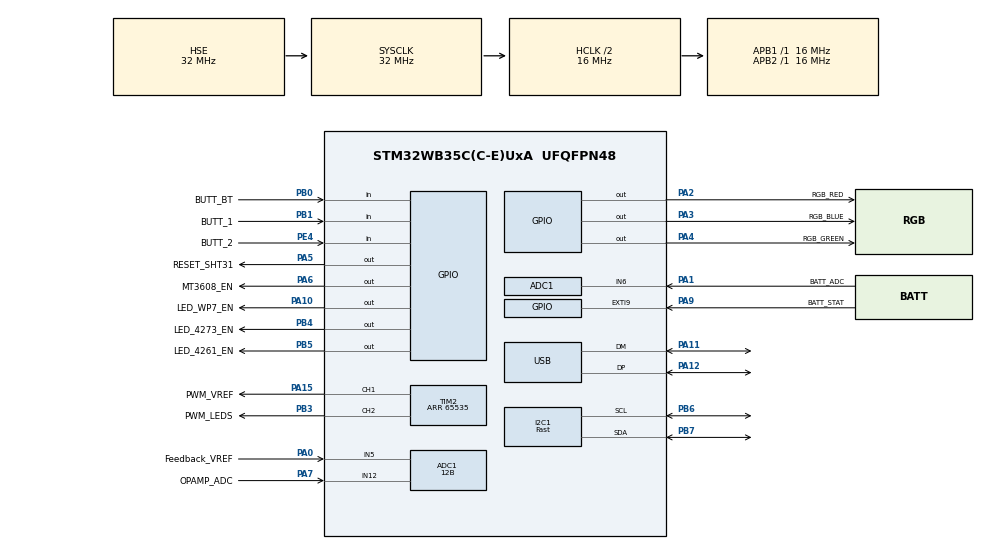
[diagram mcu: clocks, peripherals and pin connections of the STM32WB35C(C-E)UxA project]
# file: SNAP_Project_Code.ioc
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ADC1.Channel-2\#ChannelRegularConversion=ADC_CHANNEL_12
ADC1.Channel-3\#ChannelRegularConversion=ADC_CHANNEL_6
ADC1.ClockPrescaler=ADC_CLOCK_ASYNC_DIV1
ADC1.ContinuousConvMode=DISABLE
ADC1.DMAContinuousRequests=DISABLE
ADC1.DataAlign=ADC_DATAALIGN_RIGHT
ADC1.NbrOfConversion=2
ADC1.NbrOfConversionFlag=1
ADC1.OffsetNumber-2\#ChannelRegularConversion=ADC_OFFSET_NONE
ADC1.OffsetNumber-3\#ChannelRegularConversion=ADC_OFFSET_NONE
ADC1.Rank-2\#ChannelRegularConversion=1
ADC1.Rank-3\#ChannelRegularConversion=2
ADC1.Resolution=ADC_RESOLUTION_12B
ADC1.SamplingTime-2\#ChannelRegularConversion=ADC_SAMPLETIME_2CYCLES_5
ADC1.SamplingTime-3\#ChannelRegularConversion=ADC_SAMPLETIME_640CYCLES_5
ADC1.master=1
Dma.ADC1.0.Direction=DMA_PERIPH_TO_MEMORY
Dma.ADC1.0.EventEnable=DISABLE
Dma.ADC1.0.Instance=DMA1_Channel1
Dma.ADC1.0.MemDataAlignment=DMA_MDATAALIGN_WORD
Dma.ADC1.0.MemInc=DMA_MINC_ENABLE
Dma.ADC1.0.Mode=DMA_CIRCULAR
Dma.ADC1.0.PeriphDataAlignment=DMA_PDATAALIGN_WORD
Dma.ADC1.0.PeriphInc=DMA_PINC_DISABLE
Dma.ADC1.0.Polarity=HAL_DMAMUX_REQ_GEN_RISING
Dma.ADC1.0.Priority=DMA_PRIORITY_LOW
Dma.ADC1.0.RequestNumber=1
Dma.ADC1.0.SignalID=NONE
Dma.ADC1.0.SyncEnable=DISABLE
Dma.ADC1.0.SyncPolarity=HAL_DMAMUX_SYNC_NO_EVENT
Dma.ADC1.0.SyncRequestNumber=1
Dma.ADC1.0.SyncSignalID=NONE
Dma.Request0=ADC1
I2C1.I2C_Speed_Mode=I2C_Fast
I2C1.Timing=0x0010061A
Mcu.Family=STM32WB
Mcu.Name=STM32WB35C(C-E)UxA
Mcu.Package=UFQFPN48
NVIC.DMA1_Channel1_IRQn=true\:0\:0\:false\:false\:true\:false\:true\:true
NVIC.EXTI9_5_IRQn=true\:0\:0\:false\:false\:true\:true\:true\:true
NVIC.HSEM_IRQn=true\:0\:0\:false\:false\:true\:false\:true\:true
NVIC.IPCC_C1_RX_IRQn=true\:0\:0\:false\:false\:true\:true\:true\:true
NVIC.IPCC_C1_TX_IRQn=true\:0\:0\:false\:false\:true\:true\:true\:true
NVIC.PriorityGroup=NVIC_PRIORITYGROUP_4
NVIC.USB_LP_IRQn=true\:0\:0\:false\:false\:true\:false\:true\:true
OSC_IN.Mode=HSE-External-Oscillator
OSC_IN.Signal=RCC_OSC_IN
OSC_OUT.Mode=HSE-External-Oscillator
OSC_OUT.Signal=RCC_OSC_OUT
PA0.GPIO_Label=Feedback_VREF
PA0.Signal=ADCx_IN5
PA1.GPIO_Label=BATT_ADC
PA1.Signal=ADCx_IN6
PA10.GPIO_Label=LED_WP7_EN
PA10.Signal=GPIO_Output
PA11.Mode=Device
PA11.Signal=USB_DM
PA12.Mode=Device
PA12.Signal=USB_DP
PA13.Mode=Serial_Wire
PA13.Signal=SYS_JTMS-SWDIO
PA14.Mode=Serial_Wire
PA14.Signal=SYS_JTCK-SWCLK
PA15.GPIO_Label=PWM_VREF
PA15.Signal=S_TIM2_CH1
PA2.GPIO_Label=RGB_RED
PA2.Signal=GPIO_Output
PA3.GPIO_Label=RGB_BLUE
PA3.Signal=GPIO_Output
PA4.GPIO_Label=RGB_GREEN
PA4.Signal=GPIO_Output
PA5.GPIO_Label=RESET_SHT31
PA5.PinState=GPIO_PIN_SET
PA5.Signal=GPIO_Output
PA6.GPIO_Label=MT3608_EN
PA6.Signal=GPIO_Output
PA7.GPIO_Label=OPAMP_ADC
PA7.Signal=ADCx_IN12
PA9.GPIO_Label=BATT_STAT
PA9.GPIO_ModeDefaultEXTI=GPIO_MODE_IT_RISING
PA9.GPIO_PuPd=GPIO_PULLUP
PA9.Signal=GPXTI9
PB0.GPIO_Label=BUTT_BT
PB0.GPIO_PuPd=GPIO_PULLUP
PB0.Signal=GPIO_Input
PB1.GPIO_Label=BUTT_1
PB1.GPIO_PuPd=GPIO_PULLUP
PB1.Signal=GPIO_Input
PB3.GPIO_Label=PWM_LEDS
PB3.Signal=S_TIM2_CH2
PB4.GPIO_Label=LED_4273_EN
PB4.Signal=GPIO_Output
PB5.GPIO_Label=LED_4261_EN
PB5.Signal=GPIO_Output
PB6.Mode=I2C
PB6.Signal=I2C1_SCL
PB7.Mode=I2C
PB7.Signal=I2C1_SDA
PC14-OSC32_IN.Mode=LSE-External-Oscillator
PC14-OSC32_IN.Signal=RCC_OSC32_IN
PC15-OSC32_OUT.Mode=LSE-External-Oscillator
PC15-OSC32_OUT.Signal=RCC_OSC32_OUT
PE4.GPIO_Label=BUTT_2
PE4.GPIO_PuPd=GPIO_PULLUP
PE4.Signal=GPIO_Input
ProjectManager.HeapSize=0x200
ProjectManager.StackSize=0x400
ProjectManager.TargetToolchain=STM32CubeIDE
RCC.ADCCLockSelection=RCC_ADCCLKSOURCE_PLL
RCC.ADCFreq_Value=4000000
RCC.AHBCLKDivider=RCC_SYSCLK_DIV2
RCC.AHBFreq_Value=16000000
RCC.APB1Freq_Value=16000000
RCC.APB1TimFreq_Value=16000000
RCC.APB2Freq_Value=16000000
RCC.APB2TimFreq_Value=16000000
RCC.APB3Freq_Value=16000000
RCC.CortexFreq_Value=16000000
RCC.HCLKFreq_Value=16000000
RCC.HSE_VALUE=32000000
RCC.HSI48_VALUE=48000000
RCC.HSI_VALUE=16000000
RCC.LSE_Drive_Capability=RCC_LSEDRIVE_LOW
RCC.PLLN=24
RCC.PLLP=RCC_PLLP_DIV24
RCC.PLLSAI1N=24
RCC.PLLSAI1R=RCC_PLLR_DIV8
RCC.RFWKPClockSelection=RCC_RFWKPCLKSOURCE_LSE
RCC.RTCClockSelection=RCC_RTCCLKSOURCE_LSE
RCC.SYSCLKFreq_VALUE=32000000
RCC.SYSCLKSource=RCC_SYSCLKSOURCE_HSE
RCC.USBFreq_Value=48000000
RCC.VCOOutputFreq_Value=96000000
RCC.VDD_VALUE=3
RF1.Mode=RF1_Activate
RF1.Signal=RF_RF1
SH.ADCx_IN12.0=ADC1_IN12,IN12-Single-Ended
SH.ADCx_IN5.0=ADC1_IN5,IN5-Single-Ended
SH.ADCx_IN6.0=ADC1_IN6,IN6-Single-Ended
SH.S_TIM2_CH1.0=TIM2_CH1,PWM Generation1 CH1
SH.S_TIM2_CH2.0=TIM2_CH2,PWM Generation2 CH2
STM32_WPAN.AD_SERVICE_CLASS_UUID_1=00 00
STM32_WPAN.AD_SERVICE_CLASS_UUID_1_INV=[00, 00]
STM32_WPAN.AD_TYPE_COMPLETE_LOCAL_NAME=SNAP_BLE
STM32_WPAN.CFG_BONDING_MODE=1
STM32_WPAN.CFG_DEBUG_APP_TRACE=1
STM32_WPAN.CFG_DEBUG_TRACE_UART=hw_uart1
STM32_WPAN.CFG_GAP_DEVICE_NAME=SNAP001
STM32_WPAN.CFG_GAP_DEVICE_NAME_LENGTH=7
STM32_WPAN.CFG_HW_USART1_ENABLED=1
STM32_WPAN.CFG_IO_CAPABILITY=\ CFG_IO_CAPABILITY_NO_INPUT_NO_OUTPUT
STM32_WPAN.CFG_MITM_PROTECTION=CFG_MITM_PROTECTION_NOT_REQUIRED
STM32_WPAN.CFG_TX_POWER=(0x17) /* -0.5dBm */
STM32_WPAN.CFG_USED_FIXED_PIN=0
STM32_WPAN.CUSTOM_P2P_SERVER=Disabled
STM32_WPAN.CUSTOM_TEMPLATE=Enabled
STM32_WPAN.INCLUDE_AD_TYPE_16_BIT_SERV_UUID_CMPLT_LIST=0
STM32_WPAN.INCLUDE_AD_TYPE_COMPLETE_LOCAL_NAME=1
STM32_WPAN.INCLUDE_AD_TYPE_MANUFACTURER_SPECIFIC_DATA=1
STM32_WPAN.INCLUDE_AD_TYPE_TX_POWER_LEVEL=1
STM32_WPAN.NUMBER_OF_SERVICES=3
STM32_WPAN.PAIRING_PARAMETERS=ON
STM32_WPAN.SERVICE1_CHAR1_ATTR_PERMISSION_AUTHOR_READ=ATTR_PERMISSION_AUTHOR_READ
STM32_WPAN.SERVICE1_CHAR1_ATTR_PERMISSION_ENCRY_READ=\ 
STM32_WPAN.SERVICE1_CHAR1_ATTR_PERMISSION_ENCRY_WRITE=\ 
STM32_WPAN.SERVICE1_CHAR1_GATT_NOTIFY_ATTRIBUTE_WRITE=\ 
STM32_WPAN.SERVICE1_CHAR1_GATT_NOTIFY_READ_REQ_AND_WAIT_FOR_APPL_RESP=\ 
STM32_WPAN.SERVICE1_CHAR1_GATT_NOTIFY_WRITE_REQ_AND_WAIT_FOR_APPL_RESP=\ 
STM32_WPAN.SERVICE1_CHAR1_LENGTH_CHARACTERISTIC=CHAR_VALUE_LEN_CONSTANT
STM32_WPAN.SERVICE1_CHAR1_LONG_NAME=VOLTAGE_SENSOR
STM32_WPAN.SERVICE1_CHAR1_PROP_READ=CHAR_PROP_READ
STM32_WPAN.SERVICE1_CHAR1_SHORT_NAME=VOL_SEN
STM32_WPAN.SERVICE1_CHAR1_UUID=00 41
STM32_WPAN.SERVICE1_CHAR1_VALUE_LENGTH=1
STM32_WPAN.SERVICE1_CHAR2_ATTR_PERMISSION_AUTHOR_READ=ATTR_PERMISSION_AUTHOR_READ
STM32_WPAN.SERVICE1_CHAR2_GATT_NOTIFY_ATTRIBUTE_WRITE=\ 
STM32_WPAN.SERVICE1_CHAR2_GATT_NOTIFY_READ_REQ_AND_WAIT_FOR_APPL_RESP=\ 
STM32_WPAN.SERVICE1_CHAR2_GATT_NOTIFY_WRITE_REQ_AND_WAIT_FOR_APPL_RESP=\ 
STM32_WPAN.SERVICE1_CHAR2_LONG_NAME=CURRENT_SENSOR
STM32_WPAN.SERVICE1_CHAR2_PROP_READ=CHAR_PROP_READ
STM32_WPAN.SERVICE1_CHAR2_SHORT_NAME=CU_SEN
STM32_WPAN.SERVICE1_CHAR2_UUID=00 42
STM32_WPAN.SERVICE1_CHAR2_VALUE_LENGTH=1
STM32_WPAN.SERVICE1_CHAR3_ATTR_PERMISSION_AUTHOR_READ=ATTR_PERMISSION_AUTHOR_READ
STM32_WPAN.SERVICE1_CHAR3_GATT_NOTIFY_ATTRIBUTE_WRITE=\ 
STM32_WPAN.SERVICE1_CHAR3_GATT_NOTIFY_READ_REQ_AND_WAIT_FOR_APPL_RESP=\ 
STM32_WPAN.SERVICE1_CHAR3_GATT_NOTIFY_WRITE_REQ_AND_WAIT_FOR_APPL_RESP=\ 
STM32_WPAN.SERVICE1_CHAR3_LENGTH_CHARACTERISTIC=CHAR_VALUE_LEN_CONSTANT
STM32_WPAN.SERVICE1_CHAR3_LONG_NAME=TEMP
STM32_WPAN.SERVICE1_CHAR3_PROP_READ=CHAR_PROP_READ
STM32_WPAN.SERVICE1_CHAR3_SHORT_NAME=TEMP
STM32_WPAN.SERVICE1_CHAR3_UUID=00 43
STM32_WPAN.SERVICE1_CHAR3_VALUE_LENGTH=1
STM32_WPAN.SERVICE1_CHAR4_ATTR_PERMISSION_AUTHOR_READ=ATTR_PERMISSION_AUTHOR_READ
STM32_WPAN.SERVICE1_CHAR4_GATT_NOTIFY_ATTRIBUTE_WRITE=\ 
STM32_WPAN.SERVICE1_CHAR4_GATT_NOTIFY_READ_REQ_AND_WAIT_FOR_APPL_RESP=\ 
STM32_WPAN.SERVICE1_CHAR4_GATT_NOTIFY_WRITE_REQ_AND_WAIT_FOR_APPL_RESP=\ 
STM32_WPAN.SERVICE1_CHAR4_LONG_NAME=HUM
STM32_WPAN.SERVICE1_CHAR4_PROP_READ=CHAR_PROP_READ
STM32_WPAN.SERVICE1_CHAR4_SHORT_NAME=HUM
STM32_WPAN.SERVICE1_CHAR4_UUID=00 44
STM32_WPAN.SERVICE1_CHAR5_GATT_NOTIFY_READ_REQ_AND_WAIT_FOR_APPL_RESP=\ 
STM32_WPAN.SERVICE1_CHAR5_GATT_NOTIFY_WRITE_REQ_AND_WAIT_FOR_APPL_RESP=\ 
STM32_WPAN.SERVICE1_CHAR5_LONG_NAME=My_Switch_Char
STM32_WPAN.SERVICE1_CHAR5_PROP_NOTIFY=CHAR_PROP_NOTIFY
STM32_WPAN.SERVICE1_CHAR5_SHORT_NAME=SWITCH_C
STM32_WPAN.SERVICE1_CHAR5_UUID=FE 45
STM32_WPAN.SERVICE1_CHAR5_VALUE_LENGTH=2
STM32_WPAN.SERVICE1_LONG_NAME=SNAP_SVC
STM32_WPAN.SERVICE1_NUMBER_OF_CHARACTERISTICS=4
STM32_WPAN.SERVICE1_SHORT_NAME=SNAP
STM32_WPAN.SERVICE1_UUID=00 40
STM32_WPAN.SERVICE2_CHAR1_GATT_NOTIFY_ATTRIBUTE_WRITE=\ 
STM32_WPAN.SERVICE2_CHAR1_GATT_NOTIFY_READ_REQ_AND_WAIT_FOR_APPL_RESP=\ 
STM32_WPAN.SERVICE2_CHAR1_GATT_NOTIFY_WRITE_REQ_AND_WAIT_FOR_APPL_RESP=\ 
STM32_WPAN.SERVICE2_CHAR1_LONG_NAME=NUMBER_VAR
STM32_WPAN.SERVICE2_CHAR1_PROP_READ=CHAR_PROP_READ
STM32_WPAN.SERVICE2_CHAR1_SHORT_NAME=NUM_VAR
STM32_WPAN.SERVICE2_CHAR1_UUID=01 41
STM32_WPAN.SERVICE2_CHAR2_GATT_NOTIFY_ATTRIBUTE_WRITE=\ 
STM32_WPAN.SERVICE2_CHAR2_GATT_NOTIFY_READ_REQ_AND_WAIT_FOR_APPL_RESP=\ 
STM32_WPAN.SERVICE2_CHAR2_GATT_NOTIFY_WRITE_REQ_AND_WAIT_FOR_APPL_RESP=\ 
STM32_WPAN.SERVICE2_CHAR2_LONG_NAME=ABSORBANCE
STM32_WPAN.SERVICE2_CHAR2_PROP_READ=CHAR_PROP_READ
STM32_WPAN.SERVICE2_CHAR2_SHORT_NAME=ABS
STM32_WPAN.SERVICE2_CHAR2_UUID=01 42
STM32_WPAN.SERVICE2_CHAR3_GATT_NOTIFY_ATTRIBUTE_WRITE=\ 
STM32_WPAN.SERVICE2_CHAR3_GATT_NOTIFY_READ_REQ_AND_WAIT_FOR_APPL_RESP=\ 
STM32_WPAN.SERVICE2_CHAR3_GATT_NOTIFY_WRITE_REQ_AND_WAIT_FOR_APPL_RESP=\ 
STM32_WPAN.SERVICE2_CHAR3_LONG_NAME=ID_NUTRIENT
STM32_WPAN.SERVICE2_CHAR3_PROP_READ=CHAR_PROP_READ
STM32_WPAN.SERVICE2_CHAR3_SHORT_NAME=ID_NUT
STM32_WPAN.SERVICE2_CHAR3_UUID=01 43
STM32_WPAN.SERVICE2_CHAR4_GATT_NOTIFY_ATTRIBUTE_WRITE=\ 
STM32_WPAN.SERVICE2_CHAR4_GATT_NOTIFY_READ_REQ_AND_WAIT_FOR_APPL_RESP=\ 
STM32_WPAN.SERVICE2_CHAR4_GATT_NOTIFY_WRITE_REQ_AND_WAIT_FOR_APPL_RESP=\ 
STM32_WPAN.SERVICE2_CHAR4_LENGTH_CHARACTERISTIC=CHAR_VALUE_LEN_CONSTANT
STM32_WPAN.SERVICE2_CHAR4_LONG_NAME=ID_DISP_EXTRA
STM32_WPAN.SERVICE2_CHAR4_PROP_READ=CHAR_PROP_READ
STM32_WPAN.SERVICE2_CHAR4_SHORT_NAME=ID_EXTRA
STM32_WPAN.SERVICE2_CHAR4_UUID=01 44
STM32_WPAN.SERVICE2_CHAR4_VALUE_LENGTH=12
STM32_WPAN.SERVICE2_LONG_NAME=SNAP_SVC_2
STM32_WPAN.SERVICE2_NUMBER_OF_CHARACTERISTICS=4
STM32_WPAN.SERVICE2_SHORT_NAME=SNAP_1
STM32_WPAN.SERVICE2_UUID=01 40
STM32_WPAN.SERVICE3_CHAR1_GATT_NOTIFY_READ_REQ_AND_WAIT_FOR_APPL_RESP=\ 
STM32_WPAN.SERVICE3_CHAR1_GATT_NOTIFY_WRITE_REQ_AND_WAIT_FOR_APPL_RESP=\ 
STM32_WPAN.SERVICE3_CHAR1_LONG_NAME=Acknowledge
STM32_WPAN.SERVICE3_CHAR1_PROP_WRITE=CHAR_PROP_WRITE
STM32_WPAN.SERVICE3_CHAR1_SHORT_NAME=ACK
STM32_WPAN.SERVICE3_CHAR1_UUID=02 41 00 00 00 00 00 00 00 00 00 00 00 00 00 01
STM32_WPAN.SERVICE3_CHAR1_UUID_128_INPUT_TYPE=1
STM32_WPAN.SERVICE3_LONG_NAME=SNAP_SVC_3
STM32_WPAN.SERVICE3_SHORT_NAME=SNAP_2
STM32_WPAN.SERVICE3_UUID=02 40
TIM2.Channel-PWM\ Generation1\ CH1=TIM_CHANNEL_1
TIM2.Channel-PWM\ Generation2\ CH2=TIM_CHANNEL_2
TIM2.OCMode_PWM-PWM\ Generation1\ CH1=TIM_OCMODE_PWM1
TIM2.Period=65535
TIM2.Pulse-PWM\ Generation1\ CH1=0
USB_DEVICE.CLASS_NAME_FS=CDC
USB_DEVICE.MANUFACTURER_STRING=UTEC
USB_DEVICE.PRODUCT_STRING_CDC_FS=SNAP VCP
USB_DEVICE.VirtualMode=Cdc
USB_DEVICE.VirtualModeFS=Cdc_FS
VP_HSEM_VS_HSEM.Mode=HSEM_Activate
VP_IPCC_VS_IPCC.Mode=IPCC_Activate
VP_RTC_VS_RTC_Activate.Mode=RTC_Enabled
VP_RTC_VS_RTC_WakeUp_intern.Mode=WakeUp
VP_SEQUENCER_VS_SEQUENCER.Mode=SEQUENCER_Enabled
VP_STM32_WPAN_VS_BLE_HOST.Mode=STM32_WPAN_Enabled
VP_TIM2_VS_ClockSourceINT.Mode=Internal
VP_TINY_LPM_VS_TINY_LPM.Mode=TINY_LPM_Enabled
VP_USB_DEVICE_VS_USB_DEVICE_CDC_FS.Mode=CDC_FS
board=custom

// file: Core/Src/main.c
/* USER CODE BEGIN Header */
/**
  ******************************************************************************
  * @file           : main.c
  * @brief          : Main program body
  ******************************************************************************
  * @attention
  *
  * Copyright (c) 2023 STMicroelectronics.
  * All rights reserved.
  *
  * This software is licensed under terms that can be found in the LICENSE file
  * in the root directory of this software component.
  * If no LICENSE file comes with this software, it is provided AS-IS.
  *
  * This is a configuration file for all the pheripherals in the STM Processor.
  * Please do not edit this file.
  *
  * Please refer to the following files for better understanding of the code:
  *
  * 	SNAP_Project_Code -> Core -> Scr -> main.c  <- Currently in this file
  * 	SNAP_Project_Code -> Core -> Inc -> main.h
  * 	SNAP_Project_Code -> STM32_WPAN -> App -> custom_app.c
  * 	SNAP_Project_Code -> STM32_WPAN -> App -> custom_app.h
  * 	SNAP_Project_Code -> STM32_WPAN -> App -> custom_stm.c
  * 	SNAP_Project_Code -> STM32_WPAN -> App -> custom_stm.h
  *
  ******************************************************************************
  */
/* USER CODE END Header */
#include "main.h"
#include "usb_device.h"

/* USER CODE BEGIN Includes */
#include "sht31.h"
#include <stdio.h>
#include "stm32_seq.h"
#include "fonts.h"
#include "ssd1306.h"
#include "usb_device.h"
#include "custom_app.h"
/* USER CODE END Includes */

ADC_HandleTypeDef hadc1;
DMA_HandleTypeDef hdma_adc1;

I2C_HandleTypeDef hi2c1;

IPCC_HandleTypeDef hipcc;

RTC_HandleTypeDef hrtc;

TIM_HandleTypeDef htim2;

/* USER CODE BEGIN PV */
uint8_t battery_completed = 0;
/* USER CODE END PV */

void SystemClock_Config(void);
void PeriphCommonClock_Config(void);
static void MX_GPIO_Init(void);
static void MX_DMA_Init(void);
static void MX_ADC1_Init(void);
static void MX_I2C1_Init(void);
static void MX_IPCC_Init(void);
static void MX_RTC_Init(void);
static void MX_TIM2_Init(void);
static void MX_RF_Init(void);

int main(void)
{

  /* MCU Configuration--------------------------------------------------------*/

  /* Reset of all peripherals, Initializes the Flash interface and the Systick. */
  HAL_Init();
  /* Config code for STM32_WPAN (HSE Tuning must be done before system clock configuration) */
  MX_APPE_Config();

  /* Configure the system clock */
  SystemClock_Config();

/* Configure the peripherals common clocks */
  PeriphCommonClock_Config();

  /* IPCC initialisation */
  MX_IPCC_Init();

  /* Initialize all configured peripherals */
  MX_GPIO_Init();
  MX_DMA_Init();
  MX_USB_Device_Init();
  MX_ADC1_Init();
  MX_I2C1_Init();
  MX_RTC_Init();
  MX_TIM2_Init();
  MX_RF_Init();
  /* USER CODE BEGIN 2 */
  HAL_GPIO_WritePin(GPIOA, MT3608_EN_Pin, GPIO_PIN_SET); 	/* Toggle 5V rail */
  SSD1306_Init();											/* Init OLED Screen */
  /* USER CODE END 2 */

  /* Init code for STM32_WPAN */
  MX_APPE_Init();

  /* Infinite loop */
  while (1)
  {
    MX_APPE_Process();	//Enters to the SNAP Application. Please refer to the file SNAP_Project_Code -> STM32_WPAN -> App -> custom_app.c

  }
}

void SystemClock_Config(void)
{
  RCC_OscInitTypeDef RCC_OscInitStruct = {0};
  RCC_ClkInitTypeDef RCC_ClkInitStruct = {0};

  /** Configure LSE Drive Capability
  */
  HAL_PWR_EnableBkUpAccess();
  __HAL_RCC_LSEDRIVE_CONFIG(RCC_LSEDRIVE_LOW);

  /** Configure the main internal regulator output voltage
  */
  __HAL_PWR_VOLTAGESCALING_CONFIG(PWR_REGULATOR_VOLTAGE_SCALE1);

  /** Initializes the RCC Oscillators according to the specified parameters
  * in the RCC_OscInitTypeDef structure.
  */
  RCC_OscInitStruct.OscillatorType = RCC_OSCILLATORTYPE_HSI|RCC_OSCILLATORTYPE_HSE
                              |RCC_OSCILLATORTYPE_LSE|RCC_OSCILLATORTYPE_MSI;
  RCC_OscInitStruct.HSEState = RCC_HSE_ON;
  RCC_OscInitStruct.LSEState = RCC_LSE_ON;
  RCC_OscInitStruct.HSIState = RCC_HSI_ON;
  RCC_OscInitStruct.MSIState = RCC_MSI_ON;
  RCC_OscInitStruct.HSICalibrationValue = RCC_HSICALIBRATION_DEFAULT;
  RCC_OscInitStruct.MSICalibrationValue = RCC_MSICALIBRATION_DEFAULT;
  RCC_OscInitStruct.MSIClockRange = RCC_MSIRANGE_6;
  RCC_OscInitStruct.PLL.PLLState = RCC_PLL_ON;
  RCC_OscInitStruct.PLL.PLLSource = RCC_PLLSOURCE_MSI;
  RCC_OscInitStruct.PLL.PLLM = RCC_PLLM_DIV1;
  RCC_OscInitStruct.PLL.PLLN = 24;
  RCC_OscInitStruct.PLL.PLLP = RCC_PLLP_DIV24;
  RCC_OscInitStruct.PLL.PLLR = RCC_PLLR_DIV2;
  RCC_OscInitStruct.PLL.PLLQ = RCC_PLLQ_DIV2;
  if (HAL_RCC_OscConfig(&RCC_OscInitStruct) != HAL_OK)
  {
    Error_Handler();
  }

  /** Configure the SYSCLKSource, HCLK, PCLK1 and PCLK2 clocks dividers
  */
  RCC_ClkInitStruct.ClockType = RCC_CLOCKTYPE_HCLK4|RCC_CLOCKTYPE_HCLK2
                              |RCC_CLOCKTYPE_HCLK|RCC_CLOCKTYPE_SYSCLK
                              |RCC_CLOCKTYPE_PCLK1|RCC_CLOCKTYPE_PCLK2;
  RCC_ClkInitStruct.SYSCLKSource = RCC_SYSCLKSOURCE_HSE;
  RCC_ClkInitStruct.AHBCLKDivider = RCC_SYSCLK_DIV2;
  RCC_ClkInitStruct.APB1CLKDivider = RCC_HCLK_DIV1;
  RCC_ClkInitStruct.APB2CLKDivider = RCC_HCLK_DIV1;
  RCC_ClkInitStruct.AHBCLK2Divider = RCC_SYSCLK_DIV1;
  RCC_ClkInitStruct.AHBCLK4Divider = RCC_SYSCLK_DIV1;

  if (HAL_RCC_ClockConfig(&RCC_ClkInitStruct, FLASH_LATENCY_1) != HAL_OK)
  {
    Error_Handler();
  }

  /** Enable MSI Auto calibration
  */
  HAL_RCCEx_EnableMSIPLLMode();
}

void PeriphCommonClock_Config(void)
{
  RCC_PeriphCLKInitTypeDef PeriphClkInitStruct = {0};

  /** Initializes the peripherals clock
  */
  PeriphClkInitStruct.PeriphClockSelection = RCC_PERIPHCLK_SMPS|RCC_PERIPHCLK_RFWAKEUP;
  PeriphClkInitStruct.RFWakeUpClockSelection = RCC_RFWKPCLKSOURCE_LSE;
  PeriphClkInitStruct.SmpsClockSelection = RCC_SMPSCLKSOURCE_HSI;
  PeriphClkInitStruct.SmpsDivSelection = RCC_SMPSCLKDIV_RANGE1;

  if (HAL_RCCEx_PeriphCLKConfig(&PeriphClkInitStruct) != HAL_OK)
  {
    Error_Handler();
  }
}

static void MX_ADC1_Init(void)
{

  ADC_ChannelConfTypeDef sConfig = {0};

  /** Common config
  */
  hadc1.Instance = ADC1;
  hadc1.Init.ClockPrescaler = ADC_CLOCK_ASYNC_DIV1;
  hadc1.Init.Resolution = ADC_RESOLUTION_12B;
  hadc1.Init.DataAlign = ADC_DATAALIGN_RIGHT;
  hadc1.Init.ScanConvMode = ADC_SCAN_ENABLE;
  hadc1.Init.EOCSelection = ADC_EOC_SINGLE_CONV;
  hadc1.Init.LowPowerAutoWait = DISABLE;
  hadc1.Init.ContinuousConvMode = DISABLE;
  hadc1.Init.NbrOfConversion = 2;
  hadc1.Init.DiscontinuousConvMode = DISABLE;
  hadc1.Init.ExternalTrigConv = ADC_SOFTWARE_START;
  hadc1.Init.ExternalTrigConvEdge = ADC_EXTERNALTRIGCONVEDGE_NONE;
  hadc1.Init.DMAContinuousRequests = DISABLE;
  hadc1.Init.Overrun = ADC_OVR_DATA_PRESERVED;
  hadc1.Init.OversamplingMode = DISABLE;
  if (HAL_ADC_Init(&hadc1) != HAL_OK)
  {
    Error_Handler();
  }

  /** Configure Regular Channel
  */
  sConfig.Channel = ADC_CHANNEL_12;
  sConfig.Rank = ADC_REGULAR_RANK_1;
  sConfig.SamplingTime = ADC_SAMPLETIME_2CYCLES_5;
  sConfig.SingleDiff = ADC_SINGLE_ENDED;
  sConfig.OffsetNumber = ADC_OFFSET_NONE;
  sConfig.Offset = 0;
  if (HAL_ADC_ConfigChannel(&hadc1, &sConfig) != HAL_OK)
  {
    Error_Handler();
  }

  /** Configure Regular Channel
  */
  sConfig.Channel = ADC_CHANNEL_6;
  sConfig.Rank = ADC_REGULAR_RANK_2;
  sConfig.SamplingTime = ADC_SAMPLETIME_640CYCLES_5;
  if (HAL_ADC_ConfigChannel(&hadc1, &sConfig) != HAL_OK)
  {
    Error_Handler();
  }

}

static void MX_I2C1_Init(void)
{

  hi2c1.Instance = I2C1;
  hi2c1.Init.Timing = 0x0010061A;
  hi2c1.Init.OwnAddress1 = 0;
  hi2c1.Init.AddressingMode = I2C_ADDRESSINGMODE_7BIT;
  hi2c1.Init.DualAddressMode = I2C_DUALADDRESS_DISABLE;
  hi2c1.Init.OwnAddress2 = 0;
  hi2c1.Init.OwnAddress2Masks = I2C_OA2_NOMASK;
  hi2c1.Init.GeneralCallMode = I2C_GENERALCALL_DISABLE;
  hi2c1.Init.NoStretchMode = I2C_NOSTRETCH_DISABLE;
  if (HAL_I2C_Init(&hi2c1) != HAL_OK)
  {
    Error_Handler();
  }

  /** Configure Analogue filter
  */
  if (HAL_I2CEx_ConfigAnalogFilter(&hi2c1, I2C_ANALOGFILTER_ENABLE) != HAL_OK)
  {
    Error_Handler();
  }

  /** Configure Digital filter
  */
  if (HAL_I2CEx_ConfigDigitalFilter(&hi2c1, 0) != HAL_OK)
  {
    Error_Handler();
  }

}

static void MX_IPCC_Init(void)
{

  hipcc.Instance = IPCC;
  if (HAL_IPCC_Init(&hipcc) != HAL_OK)
  {
    Error_Handler();
  }

}

static void MX_RF_Init(void)
{

}

static void MX_RTC_Init(void)
{

  /** Initialize RTC Only
  */
  hrtc.Instance = RTC;
  hrtc.Init.HourFormat = RTC_HOURFORMAT_24;
  hrtc.Init.AsynchPrediv = CFG_RTC_ASYNCH_PRESCALER;
  hrtc.Init.SynchPrediv = CFG_RTC_SYNCH_PRESCALER;
  hrtc.Init.OutPut = RTC_OUTPUT_DISABLE;
  hrtc.Init.OutPutPolarity = RTC_OUTPUT_POLARITY_HIGH;
  hrtc.Init.OutPutType = RTC_OUTPUT_TYPE_OPENDRAIN;
  hrtc.Init.OutPutRemap = RTC_OUTPUT_REMAP_NONE;
  if (HAL_RTC_Init(&hrtc) != HAL_OK)
  {
    Error_Handler();
  }

  /** Enable the WakeUp
  */
  if (HAL_RTCEx_SetWakeUpTimer(&hrtc, 0, RTC_WAKEUPCLOCK_RTCCLK_DIV16) != HAL_OK)
  {
    Error_Handler();
  }

}

static void MX_TIM2_Init(void)
{

  TIM_ClockConfigTypeDef sClockSourceConfig = {0};
  TIM_MasterConfigTypeDef sMasterConfig = {0};
  TIM_OC_InitTypeDef sConfigOC = {0};

  htim2.Instance = TIM2;
  htim2.Init.Prescaler = 0;
  htim2.Init.CounterMode = TIM_COUNTERMODE_UP;
  htim2.Init.Period = 65535;
  htim2.Init.ClockDivision = TIM_CLOCKDIVISION_DIV1;
  htim2.Init.AutoReloadPreload = TIM_AUTORELOAD_PRELOAD_DISABLE;
  if (HAL_TIM_Base_Init(&htim2) != HAL_OK)
  {
    Error_Handler();
  }
  sClockSourceConfig.ClockSource = TIM_CLOCKSOURCE_INTERNAL;
  if (HAL_TIM_ConfigClockSource(&htim2, &sClockSourceConfig) != HAL_OK)
  {
    Error_Handler();
  }
  if (HAL_TIM_PWM_Init(&htim2) != HAL_OK)
  {
    Error_Handler();
  }
  sMasterConfig.MasterOutputTrigger = TIM_TRGO_RESET;
  sMasterConfig.MasterSlaveMode = TIM_MASTERSLAVEMODE_DISABLE;
  if (HAL_TIMEx_MasterConfigSynchronization(&htim2, &sMasterConfig) != HAL_OK)
  {
    Error_Handler();
  }
  sConfigOC.OCMode = TIM_OCMODE_PWM1;
  sConfigOC.Pulse = 0;
  sConfigOC.OCPolarity = TIM_OCPOLARITY_HIGH;
  sConfigOC.OCFastMode = TIM_OCFAST_DISABLE;
  if (HAL_TIM_PWM_ConfigChannel(&htim2, &sConfigOC, TIM_CHANNEL_1) != HAL_OK)
  {
    Error_Handler();
  }
  if (HAL_TIM_PWM_ConfigChannel(&htim2, &sConfigOC, TIM_CHANNEL_2) != HAL_OK)
  {
    Error_Handler();
  }
  HAL_TIM_MspPostInit(&htim2);

}

static void MX_DMA_Init(void)
{

  /* DMA controller clock enable */
  __HAL_RCC_DMAMUX1_CLK_ENABLE();
  __HAL_RCC_DMA1_CLK_ENABLE();

  /* DMA interrupt init */
  /* DMA1_Channel1_IRQn interrupt configuration */
  HAL_NVIC_SetPriority(DMA1_Channel1_IRQn, 0, 0);
  HAL_NVIC_EnableIRQ(DMA1_Channel1_IRQn);

}

static void MX_GPIO_Init(void)
{
  GPIO_InitTypeDef GPIO_InitStruct = {0};

  /* GPIO Ports Clock Enable */
  __HAL_RCC_GPIOC_CLK_ENABLE();
  __HAL_RCC_GPIOA_CLK_ENABLE();
  __HAL_RCC_GPIOB_CLK_ENABLE();
  __HAL_RCC_GPIOE_CLK_ENABLE();

  /*Configure GPIO pin Output Level */
  HAL_GPIO_WritePin(GPIOA, RGB_RED_Pin|RGB_BLUE_Pin|RGB_GREEN_Pin|MT3608_EN_Pin
                          |LED_WP7_EN_Pin, GPIO_PIN_RESET);

  /*Configure GPIO pin Output Level */
  HAL_GPIO_WritePin(RESET_SHT31_GPIO_Port, RESET_SHT31_Pin, GPIO_PIN_SET);

  /*Configure GPIO pin Output Level */
  HAL_GPIO_WritePin(GPIOB, LED_4273_EN_Pin|LED_4261_EN_Pin, GPIO_PIN_RESET);

  /*Configure GPIO pins : RGB_RED_Pin RGB_BLUE_Pin RGB_GREEN_Pin RESET_SHT31_Pin
                           MT3608_EN_Pin LED_WP7_EN_Pin */
  GPIO_InitStruct.Pin = RGB_RED_Pin|RGB_BLUE_Pin|RGB_GREEN_Pin|RESET_SHT31_Pin
                          |MT3608_EN_Pin|LED_WP7_EN_Pin;
  GPIO_InitStruct.Mode = GPIO_MODE_OUTPUT_PP;
  GPIO_InitStruct.Pull = GPIO_NOPULL;
  GPIO_InitStruct.Speed = GPIO_SPEED_FREQ_LOW;
  HAL_GPIO_Init(GPIOA, &GPIO_InitStruct);

  /*Configure GPIO pin : BATT_STAT_Pin */
  GPIO_InitStruct.Pin = BATT_STAT_Pin;
  GPIO_InitStruct.Mode = GPIO_MODE_IT_RISING;
  GPIO_InitStruct.Pull = GPIO_PULLUP;
  HAL_GPIO_Init(BATT_STAT_GPIO_Port, &GPIO_InitStruct);

  /*Configure GPIO pins : BUTT_BT_Pin BUTT_1_Pin */
  GPIO_InitStruct.Pin = BUTT_BT_Pin|BUTT_1_Pin;
  GPIO_InitStruct.Mode = GPIO_MODE_INPUT;
  GPIO_InitStruct.Pull = GPIO_PULLUP;
  HAL_GPIO_Init(GPIOB, &GPIO_InitStruct);

  /*Configure GPIO pin : BUTT_2_Pin */
  GPIO_InitStruct.Pin = BUTT_2_Pin;
  GPIO_InitStruct.Mode = GPIO_MODE_INPUT;
  GPIO_InitStruct.Pull = GPIO_PULLUP;
  HAL_GPIO_Init(BUTT_2_GPIO_Port, &GPIO_InitStruct);

  /*Configure GPIO pins : LED_4273_EN_Pin LED_4261_EN_Pin */
  GPIO_InitStruct.Pin = LED_4273_EN_Pin|LED_4261_EN_Pin;
  GPIO_InitStruct.Mode = GPIO_MODE_OUTPUT_PP;
  GPIO_InitStruct.Pull = GPIO_NOPULL;
  GPIO_InitStruct.Speed = GPIO_SPEED_FREQ_LOW;
  HAL_GPIO_Init(GPIOB, &GPIO_InitStruct);

  /* EXTI interrupt init*/
  HAL_NVIC_SetPriority(EXTI9_5_IRQn, 0, 0);
  HAL_NVIC_EnableIRQ(EXTI9_5_IRQn);

}

/* USER CODE BEGIN 4 */
void HAL_GPIO_EXTI_Callback(uint16_t GPIO_Pin)
{
	while(GPIO_Pin == BATT_STAT_Pin)
	{
		battery_completed = 1;
		HAL_GPIO_WritePin(GPIOA, RGB_GREEN_Pin, GPIO_PIN_SET);
	}

}
/* USER CODE END 4 */

void Error_Handler(void)
{
  /* USER CODE BEGIN Error_Handler_Debug */
  /* User can add his own implementation to report the HAL error return state */
  __disable_irq();
  while (1)
  {
	  SSD1306_GotoXY(15, 25);
	  SSD1306_Puts("Error. Please", &Font_7x10, 1);
	  SSD1306_GotoXY(15, 35);
	  SSD1306_Puts("reset device", &Font_7x10, 1);
	  SSD1306_UpdateScreen();
	  HAL_GPIO_WritePin(GPIOA, RGB_RED_Pin, GPIO_PIN_SET);
	  HAL_Delay(2000);
	  HAL_GPIO_WritePin(GPIOA, RGB_RED_Pin, GPIO_PIN_RESET);
  }
  /* USER CODE END Error_Handler_Debug */
}
